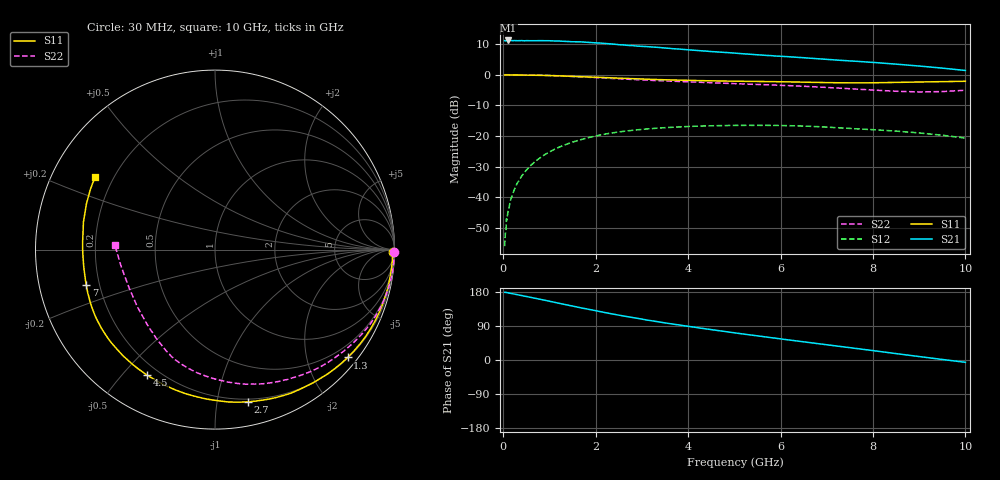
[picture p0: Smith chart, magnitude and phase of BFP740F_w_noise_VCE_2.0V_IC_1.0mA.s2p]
! Infineon Technologies  Discrete & RF Semiconductors
! BFP740F
! VCE =  2.0 V,  IC =  1.0 mA
! Common Emitter S-Parameters:  Oct 2012
# GHz  S  MA  R  50
!  f  S11  S21  S12  S22
! GHz  MAG  ANG  MAG  ANG  MAG  ANG  MAG  ANG
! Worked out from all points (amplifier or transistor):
!   99 points, 30 MHz to 10 GHz, reference 50 ohm
!   highest |S21| = 11.2 dB at 110 MHz (marker M1)
!   |S21| within 3 dB of that: start of sweep to 3.965 GHz
!   unconditionally stable (mu >= 1): nowhere
!   at 350 MHz: K = 0.01, MSG = 22.7 dB, |S12| = -34.3 dB
!   at 3.5 GHz: K = 0.20, MSG = 13.0 dB, |S12| = -17.3 dB
!   at 10 GHz: K = 0.94, MSG = 11.0 dB, |S12| = -20.7 dB
!   lowest NFmin = 0.44 dB at 450 MHz
!   S11 on the Smith chart (normalised r, x): 30 MHz: open; 1.3 GHz: 0.22, -2.80; 2.7 GHz: 0.18, -1.23; 4.5 GHz: 0.15, -0.59; 7 GHz: 0.15, -0.13; 10 GHz: 0.13, +0.27
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0.03  0.9895 -0.9  3.594 178.7  0.0016 84.6  0.9996 -0.7
0.05  0.9902 -1.5  3.585 178.5  0.0027 93.8  0.9997 -1.1
0.06  0.9902 -1.8  3.575 178.3  0.0028 95.3  0.9989 -1.3
0.07  0.9894 -2.1  3.598 178.1  0.0045 87.4  1 -1.5
0.08  0.9904 -2.4  3.58 177.9  0.0043 82.4  0.9987 -1.7
0.11  0.9904 -3.3  3.619 177.1  0.0061 87.3  0.9991 -2.3
0.15  0.9896 -4.6  3.61 176.1  0.0086 88.0  0.9987 -3.2
0.3  0.9873 -9.0  3.584 172.5  0.0169 84.5  0.997 -6.3
0.5  0.9843 -15.0  3.591 167.7  0.0278 79.5  0.9925 -10.6
1  0.9686 -30.2  3.58 155.1  0.055 68.1  0.9715 -21.3
1.3  0.9526 -39.1  3.509 147.3  0.0703 61.1  0.9513 -27.8
1.7  0.9267 -50.8  3.425 137.2  0.0881 52.2  0.9201 -36.3
2.2  0.8977 -65.0  3.237 125.2  0.1075 41.4  0.8812 -47.2
2.7  0.8678 -77.7  3.004 114.1  0.1218 31.5  0.8433 -56.8
3.4  0.831 -94.6  2.768 99.9  0.1354 19.2  0.7977 -69.1
4.5  0.7955 -118.3  2.384 80.2  0.147 2.6  0.7408 -84.7
5.1  0.7827 -130.8  2.222 70.1  0.1492 -6.0  0.7108 -92.8
6.1  0.7652 -149.0  1.98 54.1  0.148 -19.4  0.6667 -105.8
6.7  0.7505 -159.4  1.846 44.9  0.1433 -27.5  0.6364 -113.4
7  0.7442 -164.5  1.778 40.2  0.1399 -31.4  0.6202 -117.0
8.5  0.7489 168.1  1.487 16.9  0.1204 -47.6  0.5375 -143.5
10  0.7814 149.0  1.172 -6.1  0.0926 -63.5  0.5582 177.6
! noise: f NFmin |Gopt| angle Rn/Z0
0.45  0.44  0.65  10  0.5
0.9  0.53  0.66  18  0.46
1.5  0.68  0.66  29  0.43
1.9  0.79  0.62  40  0.44
2.4  0.93  0.59  48  0.44
3.5  1.24  0.54  72  0.41
5.5  1.77  0.47  117  0.31
10  2.79  0.61  -140  0.14
